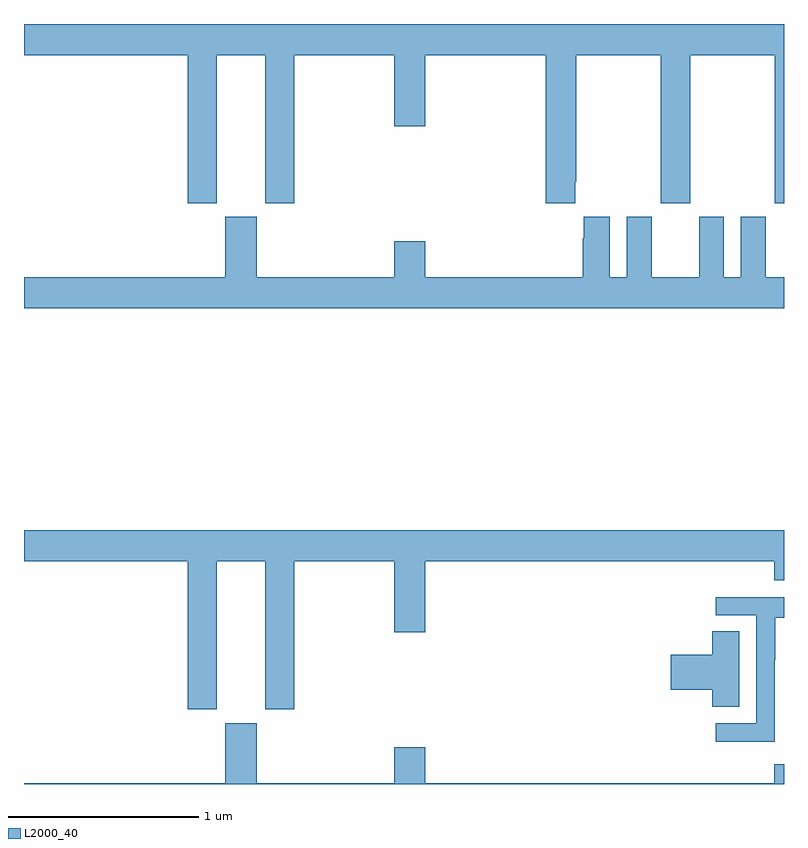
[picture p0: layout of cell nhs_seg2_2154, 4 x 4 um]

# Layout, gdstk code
import gdstk
lib = gdstk.Library(unit=1e-6, precision=1e-09)
def P(c, l, *ps):  # polygons
    for p in ps: c.add(gdstk.Polygon(p, *l))
L2000_40 = (2000, 40)

nhs_seg2_2154 = lib.new_cell('nhs_seg2_2154')
P(nhs_seg2_2154, L2000_40, [(223,647.636),(223.862,647.636),(223.862,646.857),(224.014,646.857),(224.014,647.636),(224.27,647.636),(224.27,646.857),(224.423,646.857),(224.423,647.636),(224.948,647.636),(224.948,647.262),(225.112,647.262),(225.112,647.636),(225.746,647.636),(225.746,646.857),(225.901,646.857),(225.901,646.969),(225.906,646.969),(225.906,647.636),(226.351,647.636),(226.351,646.857),(226.506,646.857),(226.506,647.636),(226.951,647.636),(226.951,646.857),(227,646.857),(227,647.8),(223,647.8)],
  [(227,646.468),(226.903,646.468),(226.903,646.786),(226.772,646.786),(226.772,646.468),(226.684,646.468),(226.684,646.786),(226.553,646.786),(226.553,646.468),(226.303,646.468),(226.303,646.786),(226.172,646.786),(226.172,646.468),(226.084,646.468),(226.084,646.786),(225.947,646.786),(225.947,646.673),(225.941,646.673),(225.941,646.468),(225.112,646.468),(225.112,646.657),(224.948,646.657),(224.948,646.468),(224.224,646.468),(224.224,646.785),(224.06,646.785),(224.06,646.468),(223,646.468),(223,646.304),(227,646.304)],
  [(224.014,644.972),(224.27,644.972),(224.27,644.193),(224.423,644.193),(224.423,644.972),(224.948,644.972),(224.948,644.598),(225.112,644.598),(225.112,644.972),(226.949,644.972),(226.949,644.873),(227,644.873),(227,645.136),(223,645.136),(223,644.972),(223.862,644.972),(223.862,644.193),(224.014,644.193)],
  [(226.95,644.452),(226.953,644.452),(226.953,644.676),(227,644.676),(227,644.784),(226.641,644.784),(226.641,644.688),(226.854,644.688),(226.854,644.121),(226.641,644.121),(226.641,644.023),(226.95,644.023)],
  [(226.765,644.603),(226.622,644.603),(226.622,644.48),(226.404,644.48),(226.404,644.297),(226.622,644.297),(226.622,644.206),(226.765,644.206)],
  [(227,643.903),(226.949,643.903),(226.949,643.804),(225.112,643.804),(225.112,643.993),(224.948,643.993),(224.948,643.804),(224.224,643.804),(224.224,644.121),(224.06,644.121),(224.06,643.804),(223,643.804),(223,643.8),(227,643.8)])

lib.write_gds('nhs_seg2_2154.gds')
